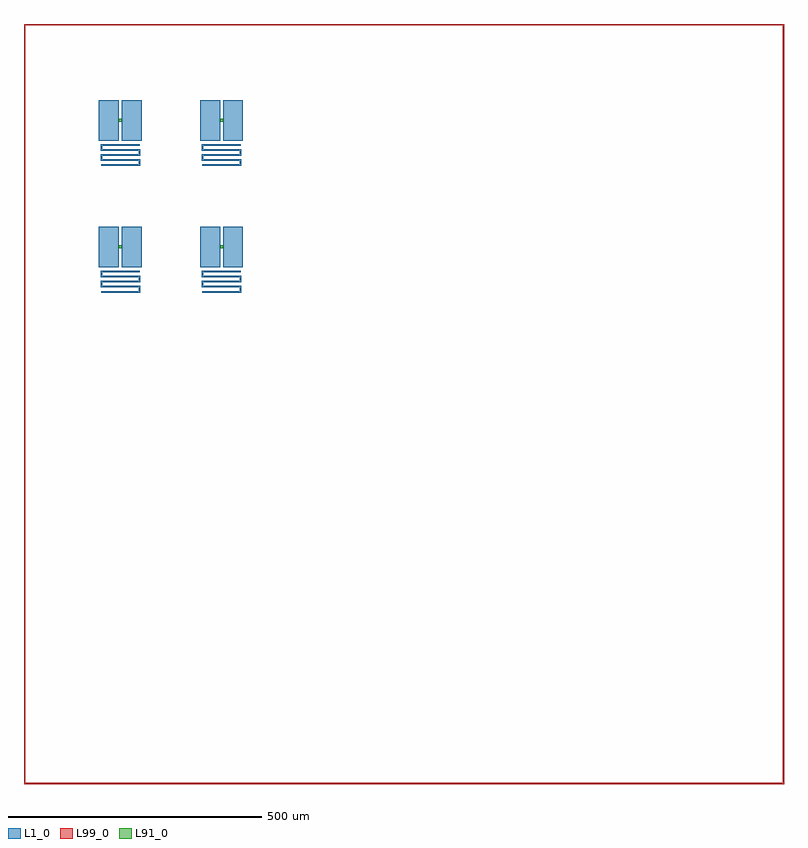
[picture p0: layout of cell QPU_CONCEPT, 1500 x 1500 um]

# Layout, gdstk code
import gdstk
lib = gdstk.Library(unit=1e-6, precision=1e-09)
def R(c, l, rs):  # rectangles x0, y0, x1, y1
    for r in rs: c.add(gdstk.rectangle(r[:2], r[2:], *l))
def A(c, l, x, y, w, h, nx, ny, dx, dy):  # array of equal rectangles
    R(c, l, [(x+i*dx, y+j*dy, x+i*dx+w, y+j*dy+h) for i in range(nx) for j in range(ny)])
L1_0 = (1, 0)
L91_0 = (91, 0)
L99_0 = (99, 0)

qpu_concept = lib.new_cell('QPU_CONCEPT')
A(qpu_concept, L1_0, -598, 220, 76, 3, 1, 5, 0, 10)
A(qpu_concept, L1_0, -398, 220, 76, 3, 1, 5, 0, 10)
A(qpu_concept, L1_0, -598, 470, 76, 3, 1, 5, 0, 10)
A(qpu_concept, L1_0, -398, 470, 76, 3, 1, 5, 0, 10)
R(qpu_concept, L1_0, [(-524,220,-521,233), (-324,220,-321,233), (-599,230,-596,243), (-399,230,-396,243), (-524,240,-521,253), (-324,240,-321,253), (-599,250,-596,263), (-399,250,-396,263), (-602,270,-563,350), (-557,270,-518,350), (-402,270,-363,350), (-357,270,-318,350), (-524,470,-521,483), (-324,470,-321,483), (-599,480,-596,493), (-399,480,-396,493), (-524,490,-521,503), (-324,490,-321,503), (-599,500,-596,513), (-399,500,-396,513), (-602,520,-563,600), (-557,520,-518,600), (-402,520,-363,600), (-357,520,-318,600)])
R(qpu_concept, L91_0, [(-563,307,-557,313), (-363,307,-357,313), (-563,557,-557,563), (-363,557,-357,563)])
R(qpu_concept, L99_0, [(-750,-750,750,-748), (-750,-750,-748,750), (748,-750,750,750), (-750,748,750,750)])

lib.write_gds('QPU_CONCEPT.gds')
